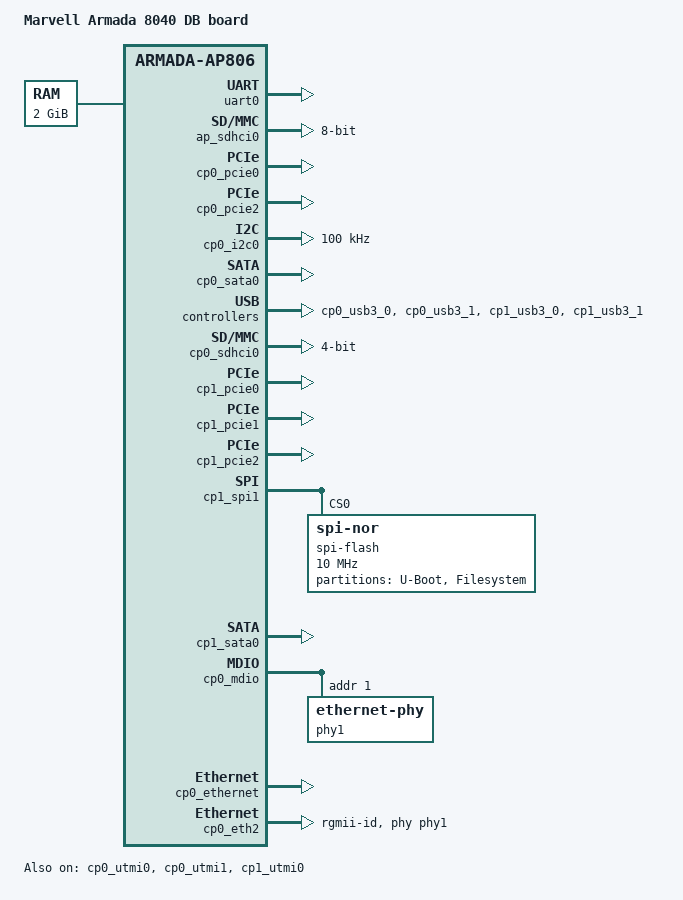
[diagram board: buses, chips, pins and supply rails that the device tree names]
// SPDX-License-Identifier: GPL-2.0
/*
 * Copyright (C) 2016 - 2021 Marvell International Ltd.
 */

/*
 * Device Tree file for Marvell Armada 8040 Development board platform
 */

#include "armada-8040.dtsi"

/ {
	model = "Marvell Armada 8040 DB board";
	compatible = "marvell,armada8040-db", "marvell,armada8040",
		     "marvell,armada-ap806-quad", "marvell,armada-ap806";

	chosen {
		stdout-path = "serial0:115200n8";
	};

	aliases {
		i2c0 = &cp0_i2c0;
		spi0 = &cp1_spi1;
	};

	memory@00000000 {
		device_type = "memory";
		reg = <0x0 0x0 0x0 0x80000000>;
	};
};

/* Accessible over the mini-USB CON9 connector on the main board */
&uart0 {
	status = "okay";
};

&ap_pinctl {
	/* MPP Bus:
	 * SDIO  [0-10]
	 * UART0 [11,19]
	 */
		  /* 0 1 2 3 4 5 6 7 8 9 */
	pin-func = < 1 1 1 1 1 1 1 1 1 1
		     1 3 0 0 0 0 0 0 0 3 >;
};

&ap_sdhci0 {
	pinctrl-names = "default";
	pinctrl-0 = <&ap_emmc_pins>;
	bus-width = <8>;
	status = "okay";
};

&cp0_pinctl {
	/* MPP Bus:
	 *	[0-31]	= 0xff: Keep default CP0_shared_pins
	 *	[11]	CLKOUT_MPP_11 (out)
	 *	[23]	LINK_RD_IN_CP2CP (in)
	 *	[25]	CLKOUT_MPP_25 (out)
	 *	[29]	AVS_FB_IN_CP2CP (in)
	 *	[32,34]	GE_MDIO/MDC
	 *	[33]	GPIO: GE_INT#/push button/Wake
	 *	[35]	MSS_GPIO[3]: MSS_PWDN
	 *	[36]	MSS_GPIO[5]: MSS_VTT_EN
	 *	[37-38]	I2C0
	 *	[39]	PTP_CLK
	 *	[40-41]	SATA[0/1]_PRESENT_ACTIVEn
	 *	[42-43]	XG_MDC/XG_MDIO (XSMI)
	 *	[44-55]	RGMII1
	 *	[56-62]	SD
	 */
	/*   0    1    2    3    4    5    6    7    8    9 */
	pin-func = < 0xff 0xff 0xff 0xff 0xff 0xff 0xff 0xff 0xff 0xff
		     0xff 0xff 0xff 0xff 0xff 0xff 0xff 0xff 0xff 0xff
		     0xff 0xff 0xff 0xff 0xff 0xff 0xff 0xff 0xff 0xff
		     0xff 0xff 0x7  0x0  0x7  0xa  0xa  0x2  0x2  0x5
		     0x9  0x9  0x8  0x8  0x1  0x1  0x1  0x1  0x1  0x1
		     0x1  0x1  0x1  0x1  0x1  0x1  0xe  0xe  0xe  0xe
		     0xe  0xe  0xe>;
};

&cp0_comphy {
	/* Serdes Configuration:
	 *	Lane 0: PCIe0 (x1)
	 *	Lane 1: SATA0
	 *	Lane 2: SFI (10G)
	 *	Lane 3: SATA1
	 *	Lane 4: USB3_HOST1
	 *	Lane 5: PCIe2 (x1)
	 */
	phy0 {
		phy-type = <COMPHY_TYPE_PEX0>;
	};
	phy1 {
		phy-type = <COMPHY_TYPE_SATA0>;
	};
	phy2 {
		phy-type = <COMPHY_TYPE_SFI0>;
	};
	phy3 {
		phy-type = <COMPHY_TYPE_SATA1>;
	};
	phy4 {
		phy-type = <COMPHY_TYPE_USB3_HOST1>;
	};
	phy5 {
		phy-type = <COMPHY_TYPE_PEX2>;
	};
};

/* CON6 on CP0 expansion */
&cp0_pcie0 {
	status = "okay";
};

&cp0_pcie1 {
	status = "disabled";
};

/* CON5 on CP0 expansion */
&cp0_pcie2 {
	status = "okay";
};

&cp0_i2c0 {
	pinctrl-names = "default";
	pinctrl-0 = <&cp0_i2c0_pins>;
	status = "okay";
	clock-frequency = <100000>;
};

/* CON4 on CP0 expansion */
&cp0_sata0 {
	status = "okay";
};

/* CON9 on CP0 expansion */
&cp0_usb3_0 {
	status = "okay";
};

/* CON10 on CP0 expansion */
&cp0_usb3_1 {
	status = "okay";
};

&cp0_utmi0 {
	status = "okay";
};

&cp0_utmi1 {
	status = "okay";
};

&cp0_sdhci0 {
	pinctrl-names = "default";
	pinctrl-0 = <&cp0_sdhci_pins>;
	bus-width = <4>;
	status = "okay";
};

&cp1_pinctl {
	/* MPP Bus:
	 *	[0-11]	RGMII0
	 *	[13-16]	SPI1
	 *	[27,31]	GE_MDIO/MDC
	 *	[28]	SATA1_PRESENT_ACTIVEn
	 *	[29-30]	UART0
	 *	[32-62]	= 0xff: Keep default CP1_shared_pins
	 */
	/*   0    1    2    3    4    5    6    7    8    9 */
	pin-func = < 0x3  0x3  0x3  0x3  0x3  0x3  0x3  0x3  0x3  0x3
		     0x3  0x3  0x3  0x3  0x3  0x3  0x3  0xff 0xff 0xff
		     0xff 0xff 0xff 0xff 0xff 0xff 0xff 0x8  0x9  0xa
		     0xA  0x8  0xff 0xff 0xff 0xff 0xff 0xff 0xff 0xff
		     0xff 0xff 0xff 0xff 0xff 0xff 0xff 0xff 0xff 0xff
		     0xff 0xff 0xff 0xff 0xff 0xff 0xff 0xff 0xff 0xff
		     0xff 0xff 0xff>;
};

&cp1_comphy {
	/* Serdes Configuration:
	 *	Lane 0: PCIe0 (x1)
	 *	Lane 1: SATA0
	 *	Lane 2: SFI (10G)
	 *	Lane 3: SATA1
	 *	Lane 4: PCIe1 (x1)
	 *	Lane 5: PCIe2 (x1)
	 */
	phy0 {
		phy-type = <COMPHY_TYPE_PEX0>;
	};
	phy1 {
		phy-type = <COMPHY_TYPE_SATA0>;
	};
	phy2 {
		phy-type = <COMPHY_TYPE_SFI0>;
	};
	phy3 {
		phy-type = <COMPHY_TYPE_SATA1>;
	};
	phy4 {
		phy-type = <COMPHY_TYPE_PEX1>;
	};
	phy5 {
		phy-type = <COMPHY_TYPE_PEX2>;
	};
};

/* CON6 on CP1 expansion */
&cp1_pcie0 {
	status = "okay";
};

&cp1_pcie1 {
	status = "okay";
};

/* CON5 on CP1 expansion */
&cp1_pcie2 {
	status = "okay";
};

&cp1_spi1 {
	pinctrl-names = "default";
	pinctrl-0 = <&cp1_spi1_pins>;
	status = "okay";

	spi-flash@0 {
		#address-cells = <1>;
		#size-cells = <1>;
		compatible = "jedec,spi-nor";
		reg = <0>;
		spi-max-frequency = <10000000>;

		partitions {
			compatible = "fixed-partitions";
			#address-cells = <1>;
			#size-cells = <1>;

			partition@0 {
				label = "U-Boot";
				reg = <0 0x200000>;
			};
			partition@400000 {
				label = "Filesystem";
				reg = <0x200000 0xce0000>;
			};
		};
	};
};

/* CON4 on CP1 expansion */
&cp1_sata0 {
	status = "okay";
};

/* CON9 on CP1 expansion */
&cp1_usb3_0 {
	status = "okay";
};

/* CON10 on CP1 expansion */
&cp1_usb3_1 {
	status = "okay";
};

&cp1_utmi0 {
	status = "okay";
};

&cp0_mdio {
	status = "okay";
	phy1: ethernet-phy@1 {
		reg = <1>;
	};
};

&cp0_ethernet {
	status = "okay";
};

&cp0_eth2 {
	status = "okay";
	phy = <&phy1>;
	phy-mode = "rgmii-id";
};
